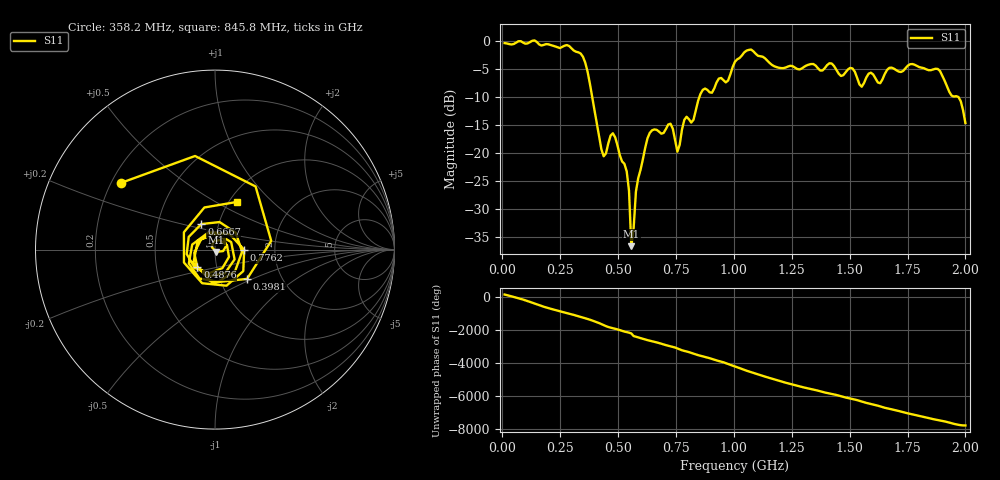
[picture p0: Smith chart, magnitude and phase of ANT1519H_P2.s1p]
!Created with skrf (http://scikit-rf.org).
# Hz S RI R 50.0
!freq ReS11 ImS11
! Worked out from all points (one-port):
!   201 points, 10 MHz to 2 GHz, reference 50 ohm
!   lowest |S11| = -36.6 dB at 557.2 MHz (marker M1), VSWR 1.03, Z = 50.8 - j1.27 ohm
!   |S11| at or under -10 dB: 388.2 MHz to 851.2 MHz (463 MHz wide, 74.7 % of centre); 1.97 GHz to end of sweep
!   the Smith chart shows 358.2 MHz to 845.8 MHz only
!   S11 on the Smith chart (normalised r, x): 358.2 MHz: 0.24, +0.30; 398.1 MHz: 1.34, -0.47; 487.6 MHz: 0.81, -0.16; 666.7 MHz: 0.83, +0.24; 776.1 MHz: 1.39, -0.00; 845.8 MHz: 1.09, +0.64
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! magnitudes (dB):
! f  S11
! 10 MHz  -0.4
! 258.8 MHz  -1.1
! 358.2 MHz  -3.9
! 398.1 MHz  -12.3
! 437.9 MHz  -20.6
! 487.6 MHz  -17.2
! 507.5 MHz  -20.4
! 537.4 MHz  -23.3
! 547.3 MHz  -26.7
! 557.2 MHz  -36.6
! 587.1 MHz  -24.4
! 626.9 MHz  -17.4
! 666.7 MHz  -15.8
! 726.4 MHz  -14.8
! 756.2 MHz  -19.7
! 776.1 MHz  -15.8
! 825.9 MHz  -14.0
! 845.8 MHz  -10.6
! 975.1 MHz  -7.1
! 1.005 GHz  -3.7
! 1.075 GHz  -1.5
! 1.254 GHz  -4.5
! 1.502 GHz  -4.8
! 1.552 GHz  -8.2
! 1.751 GHz  -4.4
! 1.891 GHz  -5.4
! 1.98 GHz  -10.8
! 2 GHz  -14.6
